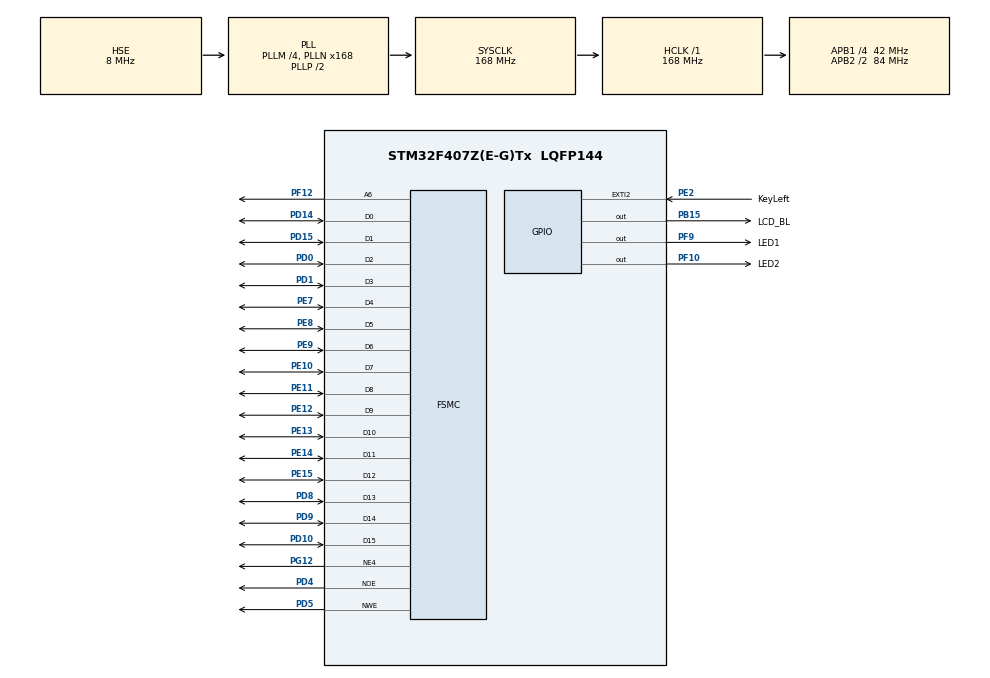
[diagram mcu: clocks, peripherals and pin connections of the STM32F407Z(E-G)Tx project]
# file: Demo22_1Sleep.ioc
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FSMC.AddressSetupTime4=2
FSMC.BusTurnAroundDuration4=0
FSMC.DataSetupTime4=16
FSMC.ExtendedAddressSetupTime4=4
FSMC.ExtendedBusTurnAroundDuration4=0
FSMC.ExtendedDataSetupTime4=9
FSMC.ExtendedMode4=FSMC_EXTENDED_MODE_ENABLE
Mcu.Family=STM32F4
Mcu.Name=STM32F407Z(E-G)Tx
Mcu.Package=LQFP144
NVIC.EXTI2_IRQn=true\:1\:0\:true\:false\:true\:true\:true\:true
NVIC.PriorityGroup=NVIC_PRIORITYGROUP_4
PA13.Mode=Serial_Wire
PA13.Signal=SYS_JTMS-SWDIO
PA14.Mode=Serial_Wire
PA14.Signal=SYS_JTCK-SWCLK
PB15.GPIO_Label=LCD_BL
PB15.PinState=GPIO_PIN_RESET
PB15.Signal=GPIO_Output
PD0.Signal=FSMC_D2_DA2
PD1.Signal=FSMC_D3_DA3
PD10.Signal=FSMC_D15_DA15
PD14.Signal=FSMC_D0_DA0
PD15.Signal=FSMC_D1_DA1
PD4.Signal=FSMC_NOE
PD5.Signal=FSMC_NWE
PD8.Signal=FSMC_D13_DA13
PD9.Signal=FSMC_D14_DA14
PE10.Signal=FSMC_D7_DA7
PE11.Signal=FSMC_D8_DA8
PE12.Signal=FSMC_D9_DA9
PE13.Signal=FSMC_D10_DA10
PE14.Signal=FSMC_D11_DA11
PE15.Signal=FSMC_D12_DA12
PE2.GPIO_Label=KeyLeft
PE2.GPIO_ModeDefaultEXTI=GPIO_MODE_IT_FALLING
PE2.GPIO_PuPd=GPIO_PULLUP
PE2.Signal=GPXTI2
PE7.Signal=FSMC_D4_DA4
PE8.Signal=FSMC_D5_DA5
PE9.Signal=FSMC_D6_DA6
PF10.GPIO_Label=LED2
PF10.PinState=GPIO_PIN_SET
PF10.Signal=GPIO_Output
PF12.Signal=FSMC_A6
PF9.GPIO_Label=LED1
PF9.PinState=GPIO_PIN_SET
PF9.Signal=GPIO_Output
PG12.Mode=NorPsramChipSelect4_4
PG12.Signal=FSMC_NE4
PH0-OSC_IN.Mode=HSE-External-Oscillator
PH0-OSC_IN.Signal=RCC_OSC_IN
PH1-OSC_OUT.Mode=HSE-External-Oscillator
PH1-OSC_OUT.Signal=RCC_OSC_OUT
ProjectManager.HeapSize=0x200
ProjectManager.StackSize=0x400
ProjectManager.TargetToolchain=STM32CubeIDE
RCC.48MHZClocksFreq_Value=84000000
RCC.AHBFreq_Value=168000000
RCC.APB1CLKDivider=RCC_HCLK_DIV4
RCC.APB1Freq_Value=42000000
RCC.APB1TimFreq_Value=84000000
RCC.APB2CLKDivider=RCC_HCLK_DIV2
RCC.APB2Freq_Value=84000000
RCC.APB2TimFreq_Value=168000000
RCC.CortexFreq_Value=168000000
RCC.FLatency=FLASH_LATENCY_5
RCC.HCLKFreq_Value=168000000
RCC.HSE_VALUE=8000000
RCC.HSI_VALUE=16000000
RCC.LSE_VALUE=32768
RCC.PLLM=4
RCC.PLLN=168
RCC.PLLSourceVirtual=RCC_PLLSOURCE_HSE
RCC.SYSCLKFreq_VALUE=168000000
RCC.SYSCLKSource=RCC_SYSCLKSOURCE_PLLCLK
RCC.VCOOutputFreq_Value=336000000
SH.FSMC_A6.0=FSMC_A6,A6_4
SH.FSMC_D0_DA0.0=FSMC_D0,16b-d4
SH.FSMC_D10_DA10.0=FSMC_D10,16b-d4
SH.FSMC_D11_DA11.0=FSMC_D11,16b-d4
SH.FSMC_D12_DA12.0=FSMC_D12,16b-d4
SH.FSMC_D13_DA13.0=FSMC_D13,16b-d4
SH.FSMC_D14_DA14.0=FSMC_D14,16b-d4
SH.FSMC_D15_DA15.0=FSMC_D15,16b-d4
SH.FSMC_D1_DA1.0=FSMC_D1,16b-d4
SH.FSMC_D2_DA2.0=FSMC_D2,16b-d4
SH.FSMC_D3_DA3.0=FSMC_D3,16b-d4
SH.FSMC_D4_DA4.0=FSMC_D4,16b-d4
SH.FSMC_D5_DA5.0=FSMC_D5,16b-d4
SH.FSMC_D6_DA6.0=FSMC_D6,16b-d4
SH.FSMC_D7_DA7.0=FSMC_D7,16b-d4
SH.FSMC_D8_DA8.0=FSMC_D8,16b-d4
SH.FSMC_D9_DA9.0=FSMC_D9,16b-d4
SH.FSMC_NOE.0=FSMC_NOE,Lcd4
SH.FSMC_NWE.0=FSMC_NWE,Lcd4
board=custom

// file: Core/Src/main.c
/* USER CODE BEGIN Header */
/**
  ******************************************************************************
  * @file           : main.c
  * @brief          : Main program body
  ******************************************************************************
  * @attention
  *
  * Copyright (c) 2023 STMicroelectronics.
  * All rights reserved.
  *
  * This software is licensed under terms that can be found in the LICENSE file
  * in the root directory of this software component.
  * If no LICENSE file comes with this software, it is provided AS-IS.
  *
  ******************************************************************************
  */
/* USER CODE END Header */
#include "main.h"
#include "gpio.h"
#include "fsmc.h"

/* USER CODE BEGIN Includes */
#include "lcd.h"
#include "keyled.h"
/* USER CODE END Includes */

void SystemClock_Config(void);

int main(void)
{

  /* MCU Configuration--------------------------------------------------------*/

  /* Reset of all peripherals, Initializes the Flash interface and the Systick. */
  HAL_Init();

  /* Configure the system clock */
  SystemClock_Config();

  /* Initialize all configured peripherals */
  MX_GPIO_Init();
  MX_FSMC_Init();
  /* USER CODE BEGIN 2 */
  lcd_init();
  lcd_show_str(10, 10, 24, "Demo22_1:Sleep Mode", RED);
  LED1_ON();
  HAL_Delay(1000);
  /* USER CODE END 2 */

  /* Infinite loop */
  /* USER CODE BEGIN WHILE */
  while (1)
  {
	  lcd_show_str(10, 40, 24, "Press KeyLeft to wake up", RED);
	  LED1_OFF();

	  HAL_SuspendTick();
	  HAL_PWR_EnterSLEEPMode(PWR_LOWPOWERREGULATOR_ON, PWR_SLEEPENTRY_WFI);

	  HAL_ResumeTick();
	  lcd_show_str(10, 70, 24, "Resume after sleep", RED);
	  for (uint8_t i = 0; i < 9; ++i) {
		 LED1_Toggle();
		 HAL_Delay(100);
	  }
	  lcd_show_str(10, 70, 24, "                  ", RED);
    /* USER CODE END WHILE */

  }
}

void SystemClock_Config(void)
{
  RCC_OscInitTypeDef RCC_OscInitStruct = {0};
  RCC_ClkInitTypeDef RCC_ClkInitStruct = {0};

  /** Configure the main internal regulator output voltage
  */
  __HAL_RCC_PWR_CLK_ENABLE();
  __HAL_PWR_VOLTAGESCALING_CONFIG(PWR_REGULATOR_VOLTAGE_SCALE1);

  /** Initializes the RCC Oscillators according to the specified parameters
  * in the RCC_OscInitTypeDef structure.
  */
  RCC_OscInitStruct.OscillatorType = RCC_OSCILLATORTYPE_HSE;
  RCC_OscInitStruct.HSEState = RCC_HSE_ON;
  RCC_OscInitStruct.PLL.PLLState = RCC_PLL_ON;
  RCC_OscInitStruct.PLL.PLLSource = RCC_PLLSOURCE_HSE;
  RCC_OscInitStruct.PLL.PLLM = 4;
  RCC_OscInitStruct.PLL.PLLN = 168;
  RCC_OscInitStruct.PLL.PLLP = RCC_PLLP_DIV2;
  RCC_OscInitStruct.PLL.PLLQ = 4;
  if (HAL_RCC_OscConfig(&RCC_OscInitStruct) != HAL_OK)
  {
    Error_Handler();
  }

  /** Initializes the CPU, AHB and APB buses clocks
  */
  RCC_ClkInitStruct.ClockType = RCC_CLOCKTYPE_HCLK|RCC_CLOCKTYPE_SYSCLK
                              |RCC_CLOCKTYPE_PCLK1|RCC_CLOCKTYPE_PCLK2;
  RCC_ClkInitStruct.SYSCLKSource = RCC_SYSCLKSOURCE_PLLCLK;
  RCC_ClkInitStruct.AHBCLKDivider = RCC_SYSCLK_DIV1;
  RCC_ClkInitStruct.APB1CLKDivider = RCC_HCLK_DIV4;
  RCC_ClkInitStruct.APB2CLKDivider = RCC_HCLK_DIV2;

  if (HAL_RCC_ClockConfig(&RCC_ClkInitStruct, FLASH_LATENCY_5) != HAL_OK)
  {
    Error_Handler();
  }
}

void Error_Handler(void)
{
  __disable_irq();
  while (1)
  {
  }
}
